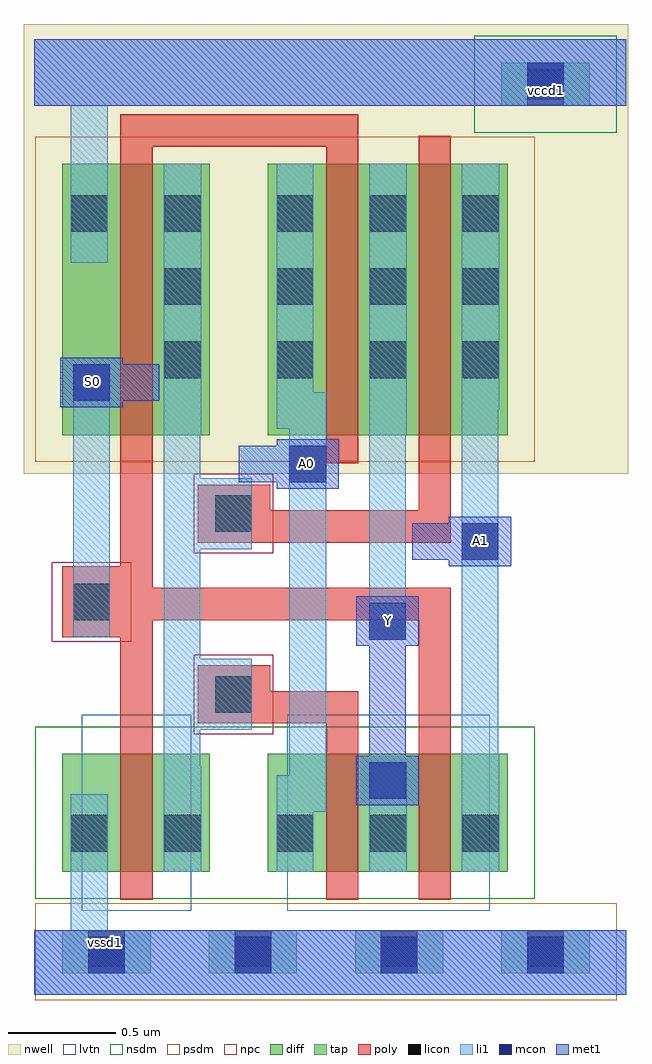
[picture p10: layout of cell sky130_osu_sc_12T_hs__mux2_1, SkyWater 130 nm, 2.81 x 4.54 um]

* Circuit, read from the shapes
.subckt sky130_osu_sc_12T_hs__mux2_1 A0 A1 S0 Y vccd1 vssd1
XM1 n1 S0 vssd1 vssd1 sky130_fd_pr__nfet_01v8_lvt w=0.55 l=0.15
XM2 Y n1 A0 vssd1 sky130_fd_pr__nfet_01v8_lvt w=0.55 l=0.15
XM3 A1 S0 Y vssd1 sky130_fd_pr__nfet_01v8_lvt w=0.55 l=0.15
XM4 n1 S0 vccd1 vccd1 sky130_fd_pr__pfet_01v8 w=1.26 l=0.15
XM5 Y S0 A0 vccd1 sky130_fd_pr__pfet_01v8 w=1.26 l=0.15
XM6 A1 n1 Y vccd1 sky130_fd_pr__pfet_01v8 w=1.26 l=0.15
.ends

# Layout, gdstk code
import gdstk
lib = gdstk.Library(unit=1e-6, precision=1e-09)
def R(c, l, rs):  # rectangles x0, y0, x1, y1
    for r in rs: c.add(gdstk.rectangle(r[:2], r[2:], *l))
def A(c, l, x, y, w, h, nx, ny, dx, dy):  # array of equal rectangles
    R(c, l, [(x+i*dx, y+j*dy, x+i*dx+w, y+j*dy+h) for i in range(nx) for j in range(ny)])
nwell = (64, 20)
diff = (65, 20)
tap = (65, 44)
poly = (66, 20)
licon = (66, 44)
li1 = (67, 20)
mcon = (67, 44)
met1 = (68, 20)
nsdm = (93, 44)
psdm = (94, 20)
npc = (95, 20)
lvtn = (125, 44)

sky130_osu_sc_12t_hs__mu = lib.new_cell('sky130_osu_sc_12T_hs__mux2_1')
R(sky130_osu_sc_12t_hs__mu, nwell, [(-0.05,2.42,2.76,4.51)])
R(sky130_osu_sc_12t_hs__mu, diff, [(0.13,0.57,0.815,1.12), (1.085,0.57,2.2,1.12), (0.13,2.6,0.815,3.86), (1.085,2.6,2.2,3.86)])
A(sky130_osu_sc_12t_hs__mu, tap, 0.13, 0.1, 0.41, 0.2, 4, 1, 0.68, 0)
R(sky130_osu_sc_12t_hs__mu, tap, [(2.17,4.13,2.58,4.33)])
R(sky130_osu_sc_12t_hs__mu, poly, [(0.4,0.44,0.55,1.66), (1.355,0.44,1.505,1.26), (1.785,0.44,1.935,1.74), (0.76,1.26,1.505,1.41), (0.76,1.41,1.095,1.53), (0.13,1.66,0.55,1.74), (0.13,1.74,1.935,1.89), (0.13,1.89,0.55,1.99), (0.4,1.99,0.55,3.94), (0.76,2.1,1.935,2.25), (0.76,2.25,1.095,2.37), (1.785,2.25,1.935,3.99), (1.355,2.47,1.505,3.94), (0.4,3.94,1.505,4.09)])
A(sky130_osu_sc_12t_hs__mu, licon, 0.25, 0.13, 0.17, 0.17, 4, 1, 0.68, 0)
A(sky130_osu_sc_12t_hs__mu, licon, 0.605, 2.865, 0.17, 0.17, 1, 3, 0, 0.34)
A(sky130_osu_sc_12t_hs__mu, licon, 1.125, 2.865, 0.17, 0.17, 1, 3, 0, 0.34)
A(sky130_osu_sc_12t_hs__mu, licon, 1.56, 2.865, 0.17, 0.17, 1, 3, 0, 0.34)
A(sky130_osu_sc_12t_hs__mu, licon, 1.99, 2.865, 0.17, 0.17, 1, 3, 0, 0.34)
R(sky130_osu_sc_12t_hs__mu, licon, [(0.17,0.665,0.34,0.835), (0.605,0.665,0.775,0.835), (1.125,0.665,1.295,0.835), (1.56,0.665,1.73,0.835), (1.99,0.665,2.16,0.835), (0.84,1.31,1.01,1.48), (0.18,1.74,0.35,1.91), (0.84,2.15,1.01,2.32), (0.17,3.545,0.34,3.715), (2.29,4.13,2.46,4.3)])
R(sky130_osu_sc_12t_hs__mu, li1, [(0,0,2.75,0.3), (0.17,0.3,0.34,0.93), (0.6,0.57,0.775,1.06), (1.125,0.57,1.295,0.85), (1.555,0.57,1.73,1.08), (1.985,0.57,2.16,1.12), (1.125,0.85,1.355,1.02), (1.185,1.02,1.355,2.63), (0.6,1.06,0.77,1.23), (1.985,1.12,2.155,2.72), (0.6,1.23,1.01,1.56), (0.6,1.56,0.77,2.07), (1.555,1.65,1.725,2.6), (0.18,1.66,0.35,2.93), (0.6,2.07,1.01,2.4), (0.6,2.4,0.77,2.6), (0.6,2.6,0.775,3.86), (1.555,2.6,1.73,3.86), (1.125,2.63,1.355,2.8), (1.985,2.72,2.16,3.86), (1.125,2.8,1.295,3.86), (0.17,3.4,0.34,4.13), (0,4.13,2.75,4.44)])
A(sky130_osu_sc_12t_hs__mu, mcon, 0.25, 0.1, 0.17, 0.17, 4, 1, 0.68, 0)
R(sky130_osu_sc_12t_hs__mu, mcon, [(1.555,0.91,1.725,1.08), (1.555,1.65,1.725,1.82), (1.985,2.02,2.155,2.19), (1.185,2.38,1.355,2.55), (0.18,2.76,0.35,2.93), (2.29,4.16,2.46,4.33)])
R(sky130_osu_sc_12t_hs__mu, met1, [(0,0,2.75,0.3), (1.495,0.88,1.785,1.11), (1.555,1.11,1.725,1.62), (1.495,1.62,1.785,1.85), (1.925,1.99,2.215,2.02), (1.755,2.02,2.215,2.19), (1.925,2.19,2.215,2.22), (1.125,2.35,1.415,2.38), (0.95,2.38,1.415,2.55), (1.125,2.55,1.415,2.58), (0.12,2.73,0.41,2.76), (0.12,2.76,0.58,2.93), (0.12,2.93,0.41,2.96), (0,4.13,2.75,4.44)])
R(sky130_osu_sc_12t_hs__mu, nsdm, [(0.005,0.445,2.325,1.245), (2.045,4.005,2.705,4.455)])
R(sky130_osu_sc_12t_hs__mu, psdm, [(0.005,-0.025,2.705,0.425), (0.005,2.475,2.325,3.985)])
R(sky130_osu_sc_12t_hs__mu, npc, [(0.74,1.21,1.11,1.58), (0.08,1.64,0.45,2.01), (0.74,2.05,1.11,2.42)])
R(sky130_osu_sc_12t_hs__mu, lvtn, [(0.22,0.39,0.73,1.3), (1.175,0.39,2.115,1.3)])
sky130_osu_sc_12t_hs__mu.add(gdstk.Label('S0', (0.27,2.85), layer=68, texttype=5))
sky130_osu_sc_12t_hs__mu.add(gdstk.Label('Y', (1.645,1.74), layer=68, texttype=5))
sky130_osu_sc_12t_hs__mu.add(gdstk.Label('A0', (1.265,2.47), layer=68, texttype=5))
sky130_osu_sc_12t_hs__mu.add(gdstk.Label('A1', (2.075,2.11), layer=68, texttype=5))
sky130_osu_sc_12t_hs__mu.add(gdstk.Label('vccd1', (2.38,4.2), layer=68, texttype=5))
sky130_osu_sc_12t_hs__mu.add(gdstk.Label('vssd1 ', (0.34,0.24), layer=68, texttype=5))

lib.write_gds('sky130_osu_sc_12T_hs__mux2_1.gds')
